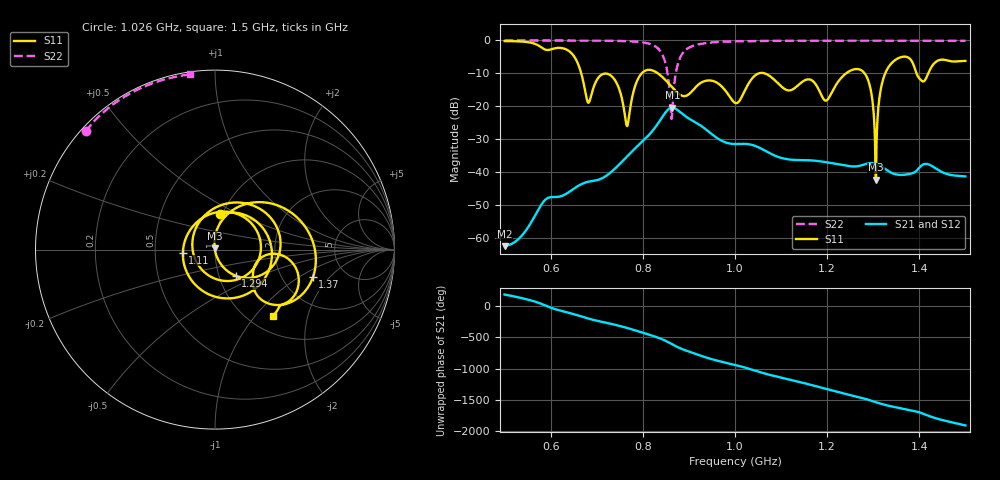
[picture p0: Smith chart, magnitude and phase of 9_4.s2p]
! TOUCHSTONE file generated by CST MICROWAVE STUDIO
! Date and time: Sat Nov 14 19:59:31 2020
! Project name: Scenario_1_Planar_Body_Tissue_Out_of_Line.cst
! Parameters = {dy1=207.6; L_HA=400; Ltissue=700; MT=2.54; Rad_Dielectric=30; Rad_Lower=7.3; Rad_Upper=30; Wtissue=700; a_HA=580; a_WG=246; b_HA=500; b_WG=121; c_HA=0; c_WG=187; d_feed=85; dx1=693; h_feed=15; h_lower=18; h_upper=40; hfat=3; hgap=25; hmuscle=50; hskin=1.5}
! Header version: 2018
! Port assignment regex: !\s*Touchstone port\s*([0-9]+)\s*=\s*(CST MWS port|CST DS port)\s*([0-9]+|Zmin|Zmax)\s*\(\"(.*)\"\)(\s*mode\s*([0-9]+))?.*
! Touchstone port assignment:
! Touchstone port 1 = CST MWS port 1 ("")
! Touchstone port 2 = CST MWS port 2 ("")
# GHz S DB R 50
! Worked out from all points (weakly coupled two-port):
!   1003 points, 500 MHz to 1.5 GHz, reference 50 ohm
!   highest |S21| = -20.35 dB at 864 MHz (marker M1); lowest = -62.4 dB at 500 MHz (marker M2)
!   lowest |S11| = -42.2 dB at 1.306 GHz (marker M3), VSWR 1.02, Z = 49.8 + j0.75 ohm
!   |S11| at or under -10 dB: 666.3 MHz to 797.4 MHz (131.1 MHz wide, 17.9 % of centre); 832.8 MHz to 1.051 GHz (218.5 MHz wide, 23.2 % of centre); 1.064 GHz to 1.241 GHz (176.5 MHz wide, 15.3 % of centre)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
!   |S22| runs from -23.8 to 0.0 dB; largest |S21 - S12| = 2.4e-05
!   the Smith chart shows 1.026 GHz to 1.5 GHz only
!   S11 on the Smith chart (normalised r, x): 1.026 GHz: 0.98, +0.40; 1.11 GHz: 0.70, -0.02; 1.294 GHz: 1.20, -0.36; 1.37 GHz: 2.95, -1.34; 1.5 GHz: 1.28, -1.23
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0.5  -0.19 -121.5  -62.38 179.4  -62.38 179.4  -0.01 151.2
0.621  -2.27 173.8  -47.27 -76.5  -47.27 -76.5  -0.02 142.5
0.667  -10.35 109.5  -43.55 -170.2  -43.55 -170.2  -0.04 138.5
0.682  -18.89 145.9  -42.83 156.6  -42.83 156.6  -0.05 137.0
0.733  -10.94 118.6  -39.69 69.5  -39.69 69.5  -0.11 130.7
0.766  -25.98 -34.4  -35.13 7.2  -35.13 7.2  -0.23 124.6
0.794  -10.60 174.6  -31.32 -54.9  -31.32 -54.9  -0.49 116.5
0.834  -10.12 63.4  -24.96 -149.8  -24.96 -149.8  -2.60 89.1
0.864  -14.25 -20.5  -20.35 104.1  -20.35 104.1  -21.10 -95.1
0.892  -16.86 -125.3  -22.94 11.8  -22.94 11.8  -2.98 178.6
1  -18.92 -153.8  -31.40 137.9  -31.40 137.9  -0.28 140.8
1.026  -13.95 81.3  -31.40 86.6  -31.40 86.5  -0.22 137.5
1.055  -9.87 -11.9  -32.68 20.4  -32.68 20.5  -0.17 134.3
1.11  -14.91 -174.7  -35.93 -79.6  -35.93 -79.6  -0.12 129.2
1.167  -12.12 -15.8  -36.39 175.2  -36.39 175.2  -0.10 124.5
1.236  -10.58 62.3  -37.82 43.2  -37.82 43.2  -0.09 119.2
1.294  -14.62 -51.7  -37.20 -67.7  -37.20 -67.7  -0.09 114.8
1.306  -42.20 104.1  -37.48 -96.4  -37.48 -96.4  -0.09 113.9
1.334  -7.90 39.7  -39.71 -153.6  -39.71 -153.7  -0.09 111.8
1.37  -4.93 -15.8  -40.68 151.8  -40.68 151.8  -0.09 109.0
1.407  -12.39 -25.5  -37.72 84.6  -37.72 84.6  -0.10 106.0
1.5  -6.23 -48.8  -41.22 -106.2  -41.22 -106.2  -0.12 98.2
